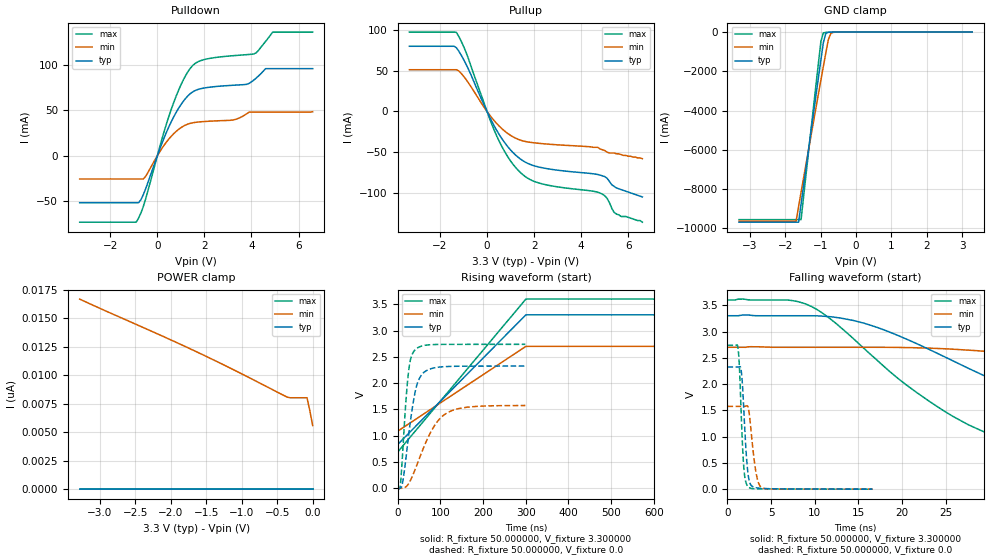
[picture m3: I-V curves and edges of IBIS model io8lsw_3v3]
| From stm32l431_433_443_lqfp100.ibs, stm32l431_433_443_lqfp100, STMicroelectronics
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|   Model io8lsw_3v3
[Model]  io8lsw_3v3
Model_type I/O
Polarity   Non-Inverting
Enable   Active-Low
Vinl =   0.990000V
Vinh =   2.310000V
Vmeas =  1.650000V
Cref =   100.000000nF
Rref =   1.000000k
Vref =   3.300000V
C_comp   2.968600pF   2.938100pF   3.196200pF
[Temperature Range]   25.000000   0.125000k   -40.000000
[Pullup Reference]   3.300000V   2.700000V   3.600000V
[Pulldown Reference]   0.0V   0.0V   0.0V
[POWER Clamp Reference]   3.300000V   2.700000V   3.600000V
[GND Clamp Reference]   0.0V   0.0V   0.0V
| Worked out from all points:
|   slope of the pulldown table from 0 to 0.495 V, typ, clamps not added: 15.4 ohm
|   slope of the pullup table from 0 to 0.495 V, typ, clamps not added: 18.1 ohm
|   GND clamp passes 1 mA (typ) near -0.58 V on its own axis
|   rising waveform, R_fixture 50.000000, V_fixture 3.300000: 20-80 % time 180ns typ, 180ns min, 180ns max; typ from 0.835 V to 3.3 V
|   rising waveform, R_fixture 50.000000, V_fixture 0.0: 20-80 % time 24ns typ, 53.4ns min, 14.4ns max; typ from 0 V to 2.33 V
|   falling waveform, R_fixture 50.000000, V_fixture 3.300000: 20-80 % time 21.1ns typ, 41.5ns min, 13.7ns max; typ from 3.3 V to 0.835 V
|   falling waveform, R_fixture 50.000000, V_fixture 0.0: 20-80 % time 487ps typ, 658ps min, 410ps max; typ from 2.33 V to 0 V
[Pulldown]
|Voltage   I(typ)   I(min)   I(max)
-3.3V     -51.62mA   -25.53mA   -73.04mA
-900mV    -51.62mA   -25.53mA   -73.04mA
-500mV    -36.51mA   -22.79mA   -47.71mA
200mV     14.03mA    8.316mA    18.9mA
700mV     42.99mA    24.4mA     58.9mA
1.2V      63.06mA    33.8mA     88.14mA
1.6V      71.64mA    36.67mA    101.4mA
3.2V      77.51mA    39.29mA    110mA
4.1V      83.27mA    47.97mA    111.9mA
4.6V      95.8mA     47.97mA    125.7mA
4.9V      95.8mA     47.97mA    136mA
6.6V      95.8mA     48.43mA    136mA
[Pullup]
|Voltage   I(typ)   I(min)   I(max)
-3.3V     80.13mA    51.3mA     97.54mA
-1.3V     78.29mA    51.3mA     97.1mA
-900mV    58.48mA    39.59mA    73.21mA
100mV     -6.165mA   -3.962mA   -8.038mA
500mV     -27.53mA   -17.49mA   -35.6mA
1V        -47.29mA   -29.38mA   -60.81mA
1.5V      -60.05mA   -35.95mA   -77.15mA
2.4V      -69.45mA   -39.66mA   -89.34mA
4.8V      -78.1mA    -46mA      -100.2mA
5.1V      -82mA      -50mA      -106.7mA
5.5V      -94mA      -52mA      -126mA
6.6V      -105mA     -58mA      -136mA
[GND_clamp]
|Voltage   I(typ)   I(min)   I(max)
-3.3V     -9.687A    -9.633A    -9.557A
-1.69V    -9.687A    -9.633A    -9.557A
-1.62V    -9.687A    -8.894A    -9.557A
-1.55V    -8.764A    -8.167A    -9.557A
-1.13V    -3.236A    -3.867A    -2.713A
-990mV    -1.416A    -2.448A    -480.1mA
-920mV    -530mA     -1.746A    -39.96mA
-850mV    -62.36mA   -1.055A    -14.04mA
-780mV    -12.04mA   -390.4mA   -9.013mA
-710mV    -4.897mA   -69.08mA   -5.32mA
-640mV    -2.305mA   -14.59mA   -2.498mA
3.28V     0A         0A         0A
[POWER_clamp]
|Voltage   I(typ)   I(min)   I(max)
-3.28V    0A         16.68nA    0A
-1.64V    0A         12.07nA    0A
-1.08V    0A         10.37nA    0A
-360mV    0A         8.078nA    0A
-320mV    0A         8.02nA     0A
-80mV     0A         8.02nA     0A
-40mV     0A         6.883nA    0A
0V        0A         5.582nA    0A
[Ramp]
| variable   typ   min   max
dV/dt_r  1.39476/23.92065n   0.94476/53.40431n   1.64310/14.41147n
dV/dt_f  1.47898/21.11879n   0.96642/44.45001n   1.74605/13.68001n
R_load = 50.000000
[Rising Waveform]
R_fixture= 50.000000
V_fixture= 3.300000
V_fixture_min= 2.700000
V_fixture_max= 3.600000
|time   V(typ)   V(min)   V(max)
0s        835mV      1.087V     689.9mV
300.3ns   3.3V       2.7V       3.6V
600.6ns   3.3V       2.7V       3.6V
29.73us   3.3V       2.7V       3.6V
[Rising Waveform]
R_fixture= 50.000000
V_fixture= 0.0
V_fixture_min= 0.0
V_fixture_max= 0.0
|time   V(typ)   V(min)   V(max)
0s        3.976nV    97.75nV    3.582nV
6.607ns   3.495mV    -140.6uV   103.2mV
13.21ns   199.4mV    4.59mV     903.8mV
19.22ns   572.7mV    29.45mV    1.665V
25.83ns   1.026V     92.51mV    2.251V
39.04ns   1.759V     323mV      2.621V
61.86ns   2.208V     798.6mV    2.718V
91.29ns   2.3V       1.252V     2.736V
117.7ns   2.317V     1.444V     2.738V
299.1ns   2.325V     1.575V     2.739V
[Falling Waveform]
R_fixture= 50.000000
V_fixture= 3.300000
V_fixture_min= 2.700000
V_fixture_max= 3.600000
|time   V(typ)   V(min)   V(max)
0s        3.3V       2.7V       3.6V
9.61ns    3.3V       2.7V       3.477V
15.62ns   3.159V     2.7V       2.682V
24.62ns   2.539V     2.673V     1.508V
29.73ns   2.135V     2.619V     1.065V
33.93ns   1.826V     2.554V     901.1mV
44.44ns   1.232V     2.33V      779.1mV
57.66ns   991mV      1.997V     728.4mV
90.39ns   869.8mV    1.328V     697mV
149.5ns   835mV      1.087V     689.9mV
[Falling Waveform]
R_fixture= 50.000000
V_fixture= 0.0
V_fixture_min= 0.0
V_fixture_max= 0.0
|time   V(typ)   V(min)   V(max)
0s        2.325V     1.575V     2.739V
1.201ns   2.324V     1.575V     2.696V
1.368ns   2.33V      1.575V     2.34V
1.568ns   2.264V     1.575V     1.472V
1.869ns   1.527V     1.575V     424.3mV
2.135ns   719.7mV    1.582V     119.4mV
2.369ns   278.3mV    1.557V     45.79mV
3.237ns   28.27mV    352.3mV    8.315mV
3.837ns   16.82mV    36.94mV    6.921mV
16.62ns   3.976nV    97.75nV    3.582nV
